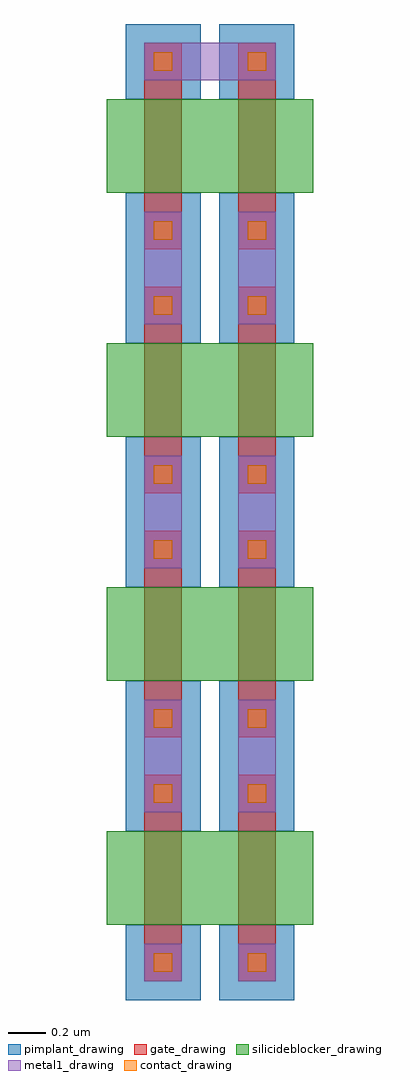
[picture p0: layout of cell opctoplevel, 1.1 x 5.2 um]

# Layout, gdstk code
import gdstk
lib = gdstk.Library(unit=1e-6, precision=1e-09)
def R(c, l, rs):  # rectangles x0, y0, x1, y1
    for r in rs: c.add(gdstk.rectangle(r[:2], r[2:], *l))
def A(c, l, x, y, w, h, nx, ny, dx, dy):  # array of equal rectangles
    R(c, l, [(x+i*dx, y+j*dy, x+i*dx+w, y+j*dy+h) for i in range(nx) for j in range(ny)])
pimplant_drawing = (4, 0)
gate_drawing = (6, 0)
contact_drawing = (7, 0)
metal1_drawing = (8, 0)
silicideblocker_drawing = (28, 0)

opctoplevel = lib.new_cell('opctoplevel')
R(opctoplevel, pimplant_drawing, [(-0.1,-0.1,0.3,0.3), (-0.1,-0.1,0.3,0.3), (0.4,-0.1,0.8,0.3), (0.4,-0.1,0.8,0.3), (-0.1,0.8,0.3,1.2), (-0.1,0.8,0.3,1.2), (0.4,0.8,0.8,1.2), (0.4,0.8,0.8,1.2), (-0.1,1.2,0.3,1.6), (-0.1,1.2,0.3,1.6), (0.4,1.2,0.8,1.6), (0.4,1.2,0.8,1.6), (-0.1,2.1,0.3,2.5), (-0.1,2.1,0.3,2.5), (0.4,2.1,0.8,2.5), (0.4,2.1,0.8,2.5), (-0.1,2.5,0.3,2.9), (-0.1,2.5,0.3,2.9), (0.4,2.5,0.8,2.9), (0.4,2.5,0.8,2.9), (-0.1,3.4,0.3,3.8), (-0.1,3.4,0.3,3.8), (0.4,3.4,0.8,3.8), (0.4,3.4,0.8,3.8), (-0.1,3.8,0.3,4.2), (-0.1,3.8,0.3,4.2), (0.4,3.8,0.8,4.2), (0.4,3.8,0.8,4.2), (-0.1,4.7,0.3,5.1), (-0.1,4.7,0.3,5.1), (0.4,4.7,0.8,5.1), (0.4,4.7,0.8,5.1)])
A(opctoplevel, gate_drawing, 0, 0, 0.2, 1.1, 1, 4, 0, 1.3)
A(opctoplevel, gate_drawing, 0.5, 0, 0.2, 1.1, 1, 4, 0, 1.3)
R(opctoplevel, gate_drawing, [(0,0,0.2,0.2), (0.5,0,0.7,0.2), (0,0.9,0.2,1.1), (0.5,0.9,0.7,1.1), (0,1.3,0.2,1.5), (0.5,1.3,0.7,1.5), (0,2.2,0.2,2.4), (0.5,2.2,0.7,2.4), (0,2.6,0.2,2.8), (0.5,2.6,0.7,2.8), (0,3.5,0.2,3.7), (0.5,3.5,0.7,3.7), (0,3.9,0.2,4.1), (0.5,3.9,0.7,4.1), (0,4.8,0.2,5), (0.5,4.8,0.7,5)])
R(opctoplevel, contact_drawing, [(0.05,0.05,0.15,0.15), (0.55,0.05,0.65,0.15), (0.05,0.95,0.15,1.05), (0.55,0.95,0.65,1.05), (0.05,1.35,0.15,1.45), (0.55,1.35,0.65,1.45), (0.05,2.25,0.15,2.35), (0.55,2.25,0.65,2.35), (0.05,2.65,0.15,2.75), (0.55,2.65,0.65,2.75), (0.05,3.55,0.15,3.65), (0.55,3.55,0.65,3.65), (0.05,3.95,0.15,4.05), (0.55,3.95,0.65,4.05), (0.05,4.85,0.15,4.95), (0.55,4.85,0.65,4.95)])
A(opctoplevel, metal1_drawing, 0, 0.9, 0.2, 0.6, 1, 3, 0, 1.3)
A(opctoplevel, metal1_drawing, 0.5, 0.9, 0.2, 0.6, 1, 3, 0, 1.3)
R(opctoplevel, metal1_drawing, [(0,0,0.2,0.2), (0.5,0,0.7,0.2), (0,0.9,0.2,1.1), (0.5,0.9,0.7,1.1), (0,1.3,0.2,1.5), (0.5,1.3,0.7,1.5), (0,2.2,0.2,2.4), (0.5,2.2,0.7,2.4), (0,2.6,0.2,2.8), (0.5,2.6,0.7,2.8), (0,3.5,0.2,3.7), (0.5,3.5,0.7,3.7), (0,3.9,0.2,4.1), (0.5,3.9,0.7,4.1), (0,4.8,0.2,5), (0,4.8,0.7,5), (0.5,4.8,0.7,5)])
A(opctoplevel, silicideblocker_drawing, -0.2, 0.3, 1.1, 0.5, 1, 4, 0, 1.3)

lib.write_gds('opctoplevel.gds')
